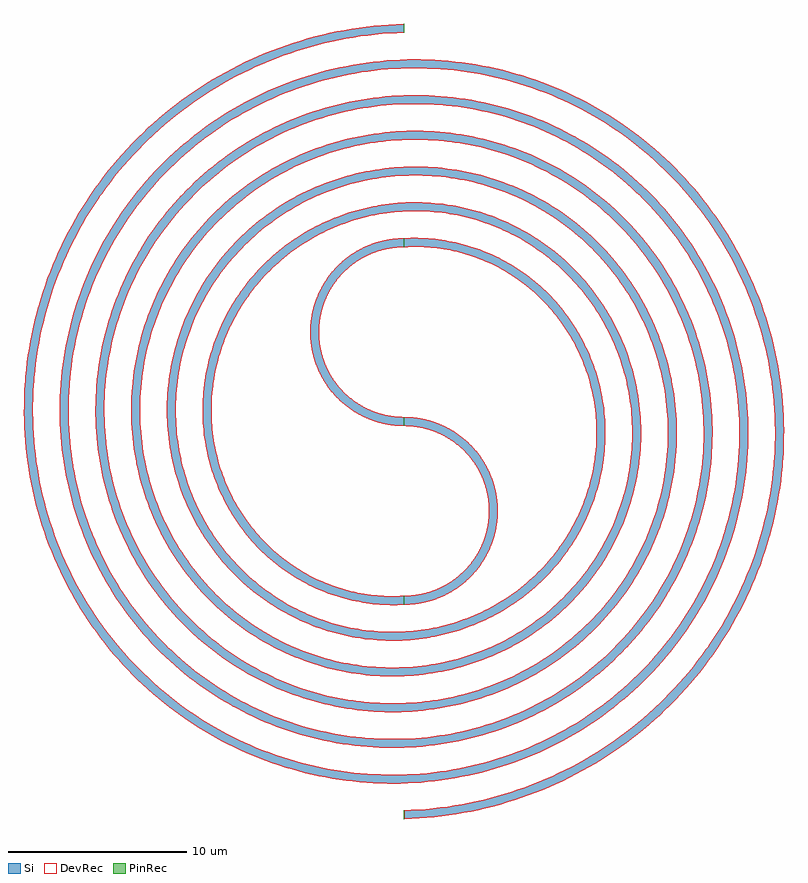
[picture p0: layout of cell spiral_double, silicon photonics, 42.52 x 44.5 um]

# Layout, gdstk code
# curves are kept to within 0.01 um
from math import pi, radians
import gdstk
lib = gdstk.Library(unit=1e-6, precision=1e-09)
def P(c, l, *ps):  # polygons
    for p in ps: c.add(gdstk.Polygon(p, *l))
Si = (1, 0)
PinRec = (1, 10)
DevRec = (68, 0)

bend_circular_angle180_r = lib.new_cell('bend_circular_angle180_radius5p0')
P(bend_circular_angle180_r, Si, [(0.046,-0.25),(0.642,-0.211),(1.095,-0.135),(1.627,0.008),(2.141,0.206),(2.592,0.434),(3.056,0.731),(3.487,1.075),(3.892,1.477),(3.186,1.477),(2.799,1.162),(2.345,0.869),(1.899,0.646),(1.432,0.471),(1.071,0.372),(0.704,0.302),(0.415,0.268),(0,0.25),(0,-0.25)],
  [(3.91,1.496),(4.201,1.851),(4.46,2.23),(4.706,2.672),(4.908,3.135),(5.052,3.571),(5.166,4.063),(5.228,4.518),(5.25,5.021),(4.75,5.021),(4.722,4.481),(4.65,4.03),(4.523,3.548),(4.346,3.082),(4.121,2.637),(3.85,2.218),(3.565,1.861),(3.186,1.477),(3.892,1.477)],
  [(5.25,5.023),(5.239,5.344),(5.202,5.71),(5.149,6.027),(5.052,6.429),(4.955,6.736),(4.803,7.12),(4.508,7.691),(4.201,8.149),(3.879,8.538),(3.169,8.538),(3.481,8.232),(3.826,7.815),(4.079,7.435),(4.329,6.956),(4.51,6.492),(4.65,5.97),(4.722,5.519),(4.75,5.021)],
  [(3.848,8.572),(3.487,8.925),(3.056,9.269),(2.592,9.566),(2.141,9.794),(1.627,9.992),(1.095,10.135),(0.505,10.226),(0,10.25),(0,9.75),(0.415,9.732),(0.868,9.67),(1.313,9.565),(1.668,9.448),(2.088,9.267),(2.453,9.068),(2.799,8.838),(3.169,8.538),(3.879,8.538)])
P(bend_circular_angle180_r, DevRec, [(0.046,-0.25),(0.642,-0.211),(1.095,-0.135),(1.627,0.008),(2.141,0.206),(2.592,0.434),(3.056,0.731),(3.487,1.075),(3.892,1.477),(3.186,1.477),(2.799,1.162),(2.345,0.869),(1.899,0.646),(1.432,0.471),(1.071,0.372),(0.704,0.302),(0.415,0.268),(0,0.25),(0,-0.25)],
  [(3.91,1.496),(4.201,1.851),(4.46,2.23),(4.706,2.672),(4.908,3.135),(5.052,3.571),(5.166,4.063),(5.228,4.518),(5.25,5.021),(4.75,5.021),(4.722,4.481),(4.65,4.03),(4.523,3.548),(4.346,3.082),(4.121,2.637),(3.85,2.218),(3.565,1.861),(3.186,1.477),(3.892,1.477)],
  [(5.25,5.023),(5.239,5.344),(5.202,5.71),(5.149,6.027),(5.052,6.429),(4.955,6.736),(4.803,7.12),(4.508,7.691),(4.201,8.149),(3.879,8.538),(3.169,8.538),(3.481,8.232),(3.826,7.815),(4.079,7.435),(4.329,6.956),(4.51,6.492),(4.65,5.97),(4.722,5.519),(4.75,5.021)],
  [(3.848,8.572),(3.487,8.925),(3.056,9.269),(2.592,9.566),(2.141,9.794),(1.627,9.992),(1.095,10.135),(0.505,10.226),(0,10.25),(0,9.75),(0.415,9.732),(0.868,9.67),(1.313,9.565),(1.668,9.448),(2.088,9.267),(2.453,9.068),(2.799,8.838),(3.169,8.538),(3.879,8.538)])
bend_circular_angle180_r.add(gdstk.FlexPath([(0.001,0),(-0.001,0)], 0.5, ends="flush", simple_path=True, layer=1, datatype=10))  # PinRec
bend_circular_angle180_r.add(gdstk.FlexPath([(0.001,10),(-0.001,10)], 0.5, ends="flush", simple_path=True, layer=1, datatype=10))  # PinRec
bend_circular_angle180_r.add(gdstk.Label('o1', (0,0), layer=1, texttype=10))
bend_circular_angle180_r.add(gdstk.Label('o2', (0,10), layer=1, texttype=10))

extrude_4e332b45 = lib.new_cell('extrude_4e332b45')
P(extrude_4e332b45, Si, [(-0.183,-20.255),(0.58,-20.224),(1.341,-20.163),(2.476,-20.019),(3.225,-19.888),(3.969,-19.729),(5.069,-19.438),(5.792,-19.209),(6.505,-18.954),(7.207,-18.673),(7.897,-18.366),(8.574,-18.033),(9.563,-17.488),(10.204,-17.094),(10.828,-16.676),(11.436,-16.236),(12.163,-15.66),(11.365,-15.66),(10.543,-16.266),(9.934,-16.673),(9.309,-17.057),(8.345,-17.589),(7.685,-17.913),(7.012,-18.213),(6.328,-18.487),(5.282,-18.85),(4.572,-19.059),(3.855,-19.242),(3.13,-19.397),(2.399,-19.525),(1.662,-19.626),(0.922,-19.699),(0.178,-19.743),(-0.567,-19.76),(-1.314,-19.748),(-2.061,-19.709),(-2.806,-19.641),(-3.549,-19.545),(-4.289,-19.42),(-5.025,-19.268),(-5.755,-19.087),(-6.479,-18.879),(-7.195,-18.644),(-8.254,-18.24),(-8.947,-17.937),(-9.628,-17.608),(-10.298,-17.253),(-11.278,-16.672),(-11.913,-16.254),(-12.733,-15.66),(-13.542,-15.66),(-12.831,-16.214),(-12.196,-16.667),(-11.214,-17.3),(-10.541,-17.69),(-9.854,-18.054),(-8.802,-18.55),(-8.086,-18.847),(-7.361,-19.116),(-6.256,-19.468),(-5.511,-19.667),(-4.759,-19.837),(-4.003,-19.979),(-2.861,-20.138),(-2.097,-20.207),(-0.948,-20.258)],
  [(-0.45,-16.262),(0.469,-16.225),(1.08,-16.172),(1.686,-16.096),(2.589,-15.939),(3.183,-15.806),(3.74,-15.66),(1.15,-15.66),(0.435,-15.726),(-0.456,-15.762),(-1.35,-15.746),(-2.425,-15.66),(-5.029,-15.66),(-4.126,-15.885),(-3.519,-16.006),(-2.908,-16.104),(-2.295,-16.178),(-1.68,-16.229),(-1.065,-16.257)],
  [(-12.836,-15.582),(-13.431,-15.105),(-14.008,-14.605),(-14.838,-13.813),(-15.624,-12.975),(-16.363,-12.09),(-16.995,-12.09),(-16.256,-13.009),(-15.467,-13.884),(-14.631,-14.711),(-13.752,-15.489),(-13.542,-15.66),(-12.733,-15.66)],
  [(-2.541,-15.647),(-3.43,-15.514),(-4.019,-15.396),(-4.604,-15.257),(-5.472,-15.006),(-6.043,-14.811),(-6.608,-14.594),(-7.164,-14.356),(-7.712,-14.097),(-8.251,-13.816),(-8.779,-13.515),(-9.297,-13.194),(-9.803,-12.853),(-10.296,-12.493),(-10.804,-12.09),(-11.573,-12.09),(-10.848,-12.698),(-10.346,-13.079),(-9.831,-13.441),(-9.303,-13.782),(-8.764,-14.103),(-8.214,-14.403),(-7.37,-14.812),(-6.796,-15.058),(-5.92,-15.384),(-5.029,-15.66),(-2.425,-15.66)],
  [(-0.334,-12.263),(0.589,-12.205),(1.436,-12.09),(-2.714,-12.09),(-2.191,-12.168),(-1.495,-12.237),(-1.03,-12.261)],
  [(3.772,-15.652),(4.641,-15.379),(5.491,-15.058),(6.32,-14.69),(7.125,-14.276),(7.903,-13.819),(8.653,-13.32),(9.371,-12.78),(10.179,-12.09),(9.422,-12.09),(8.831,-12.567),(8.364,-12.911),(7.883,-13.238),(7.39,-13.548),(6.884,-13.838),(6.104,-14.239),(5.572,-14.481),(5.029,-14.704),(4.478,-14.906),(3.918,-15.088),(3.065,-15.32),(2.199,-15.505),(1.15,-15.66)],
  [(12.314,-15.535),(13.149,-14.787),(13.939,-13.993),(14.682,-13.158),(15.149,-12.58),(15.517,-12.09),(14.894,-12.09),(14.529,-12.557),(14.063,-13.113),(13.323,-13.913),(12.805,-14.424),(12.267,-14.915),(11.365,-15.66),(12.163,-15.66)],
  [(-16.597,-11.788),(-17.267,-10.849),(-17.924,-9.805),(-18.502,-9.805),(-17.899,-10.799),(-17.459,-11.453),(-16.995,-12.09),(-16.363,-12.09)],
  [(-11.011,-11.917),(-11.693,-11.3),(-12.129,-10.867),(-12.549,-10.417),(-13.071,-9.805),(-13.709,-9.805),(-13.131,-10.513),(-12.706,-10.985),(-12.039,-11.661),(-11.574,-12.09),(-10.804,-12.09)],
  [(1.502,-12.079),(2.177,-11.939),(3.059,-11.694),(3.704,-11.468),(4.334,-11.206),(4.947,-10.91),(5.539,-10.581),(6.111,-10.22),(6.689,-9.805),(5.832,-9.805),(5.469,-10.039),(4.908,-10.365),(4.13,-10.75),(3.321,-11.077),(2.487,-11.343),(1.631,-11.546),(0.979,-11.655),(0.098,-11.744),(-0.569,-11.767),(-1.46,-11.738),(-2.128,-11.672),(-3.014,-11.525),(-3.673,-11.37),(-4.537,-11.105),(-5.383,-10.775),(-5.797,-10.585),(-6.406,-10.271),(-7.179,-9.805),(-8.053,-9.805),(-7.664,-10.082),(-7.061,-10.47),(-6.439,-10.821),(-6.014,-11.036),(-5.365,-11.326),(-4.702,-11.578),(-4.028,-11.791),(-3.573,-11.912),(-2.714,-12.09),(1.436,-12.09)],
  [(10.277,-12),(10.915,-11.373),(11.319,-10.937),(11.705,-10.486),(12.236,-9.805),(11.609,-9.805),(11.135,-10.388),(10.554,-11.027),(9.937,-11.634),(9.422,-12.09),(10.179,-12.09)],
  [(15.594,-11.985),(16.217,-11.063),(16.603,-10.43),(16.953,-9.805),(16.383,-9.805),(15.986,-10.488),(15.599,-11.098),(14.894,-12.09),(15.517,-12.09)],
  [(-18.079,-9.538),(-18.622,-8.515),(-18.952,-7.816),(-19.256,-7.104),(-19.566,-6.288),(-20.096,-6.288),(-19.72,-7.291),(-19.409,-8.021),(-18.891,-9.09),(-18.502,-9.805),(-17.924,-9.805)],
  [(-13.147,-9.711),(-13.705,-8.972),(-14.055,-8.461),(-14.385,-7.936),(-14.843,-7.125),(-15.256,-6.288),(-15.804,-6.288),(-15.574,-6.787),(-15.285,-7.359),(-14.813,-8.194),(-14.295,-9),(-13.734,-9.774),(-13.709,-9.805),(-13.071,-9.805)],
  [(-7.191,-9.797),(-7.756,-9.403),(-8.3,-8.975),(-8.65,-8.673),(-9.153,-8.193),(-9.474,-7.858),(-9.933,-7.331),(-10.362,-6.777),(-10.7,-6.288),(-11.294,-6.288),(-10.766,-7.071),(-10.164,-7.834),(-9.508,-8.546),(-8.803,-9.204),(-8.053,-9.805)],
  [(6.836,-9.691),(7.182,-9.407),(7.68,-8.958),(7.996,-8.644),(8.446,-8.153),(8.867,-7.638),(9.13,-7.283),(9.498,-6.734),(9.765,-6.288),(9.185,-6.288),(8.843,-6.82),(8.471,-7.333),(8.206,-7.664),(7.784,-8.142),(7.334,-8.596),(6.858,-9.026),(6.357,-9.429),(5.832,-9.805),(6.689,-9.805)],
  [(12.252,-9.784),(12.593,-9.301),(12.915,-8.806),(13.362,-8.042),(13.763,-7.256),(14.184,-6.288),(13.645,-6.288),(13.312,-7.042),(13.058,-7.551),(12.784,-8.051),(12.491,-8.541),(12.179,-9.02),(11.609,-9.805),(12.236,-9.805)],
  [(16.964,-9.784),(17.3,-9.126),(17.755,-8.118),(18.153,-7.087),(18.415,-6.288),(17.892,-6.288),(17.559,-7.258),(17.294,-7.925),(16.85,-8.907),(16.383,-9.805),(16.953,-9.805)],
  [(-19.662,-6.013),(-20.006,-4.9),(-20.2,-4.147),(-20.438,-3.002),(-20.568,-2.172),(-21.072,-2.172),(-20.93,-3.09),(-20.686,-4.262),(-20.377,-5.416),(-20.096,-6.288),(-19.566,-6.288)],
  [(-15.383,-6.003),(-15.732,-5.135),(-16.032,-4.246),(-16.282,-3.339),(-16.42,-2.726),(-16.524,-2.172),(-17.031,-2.172),(-16.842,-3.143),(-16.602,-4.083),(-16.31,-5.005),(-16.087,-5.609),(-15.841,-6.203),(-15.804,-6.288),(-15.256,-6.288)],
  [(-10.76,-6.198),(-11.24,-5.39),(-11.56,-4.759),(-11.754,-4.328),(-12.014,-3.666),(-12.167,-3.217),(-12.303,-2.761),(-12.451,-2.172),(-12.964,-2.172),(-12.785,-2.895),(-12.484,-3.836),(-12.115,-4.749),(-11.679,-5.628),(-11.294,-6.288),(-10.7,-6.288)],
  [(9.833,-6.167),(10.135,-5.583),(10.317,-5.186),(10.561,-4.58),(10.704,-4.169),(10.831,-3.754),(10.991,-3.126),(11.078,-2.703),(11.163,-2.172),(10.658,-2.172),(10.547,-2.814),(10.456,-3.217),(10.291,-3.816),(10.092,-4.406),(9.94,-4.794),(9.684,-5.366),(9.496,-5.74),(9.186,-6.288),(9.765,-6.288)],
  [(14.227,-6.179),(14.52,-5.352),(14.689,-4.792),(14.836,-4.228),(14.962,-3.66),(15.066,-3.088),(15.186,-2.172),(14.683,-2.172),(14.615,-2.73),(14.525,-3.285),(14.414,-3.837),(14.281,-4.385),(14.129,-4.928),(13.955,-5.466),(13.645,-6.288),(14.184,-6.288)],
  [(18.49,-6.038),(18.682,-5.329),(18.918,-4.256),(19.093,-3.173),(19.199,-2.172),(18.697,-2.172),(18.597,-3.107),(18.427,-4.162),(18.197,-5.208),(17.892,-6.288),(18.415,-6.288)],
  [(-20.611,-1.845),(-20.69,-1.067),(-20.753,0.105),(-20.75,1.282),(-20.698,2.222),(-21.2,2.222),(-21.249,1.297),(-21.253,0.093),(-21.188,-1.108),(-21.072,-2.172),(-20.568,-2.172)],
  [(-16.535,-2.108),(-16.664,-1.172),(-16.72,-0.543),(-16.753,0.088),(-16.757,1.038),(-16.73,1.672),(-16.686,2.222),(-17.188,2.222),(-17.229,1.703),(-17.257,1.05),(-17.253,0.072),(-17.193,-0.902),(-17.079,-1.87),(-17.031,-2.172),(-16.524,-2.172)],
  [(-12.475,-2.066),(-12.608,-1.361),(-12.674,-0.886),(-12.753,0.072),(-12.759,1.038),(-12.735,1.521),(-12.667,2.222),(-13.17,2.222),(-13.249,1.304),(-13.261,0.301),(-13.221,-0.449),(-13.102,-1.439),(-12.964,-2.172),(-12.451,-2.172)],
  [(11.178,-2.065),(11.254,-1.211),(11.265,-0.358),(11.212,0.491),(11.095,1.329),(10.898,2.222),(10.38,2.222),(10.525,1.637),(10.603,1.242),(10.692,0.642),(10.747,0.036),(10.765,-0.37),(10.763,-0.982),(10.726,-1.594),(10.658,-2.172),(11.163,-2.172)],
  [(15.208,-1.937),(15.246,-1.36),(15.263,-0.782),(15.247,0.083),(15.182,0.943),(15.111,1.513),(15.02,2.078),(14.992,2.222),(14.483,2.222),(14.653,1.167),(14.71,0.614),(14.747,0.059),(14.763,-0.498),(14.757,-1.057),(14.731,-1.615),(14.683,-2.172),(15.186,-2.172)],
  [(19.206,-2.084),(19.257,-0.992),(19.247,0.099),(19.174,1.186),(19.047,2.222),(18.541,2.222),(18.676,1.138),(18.747,0.08),(18.757,-0.983),(18.697,-2.172),(19.199,-2.172)],
  [(-20.68,2.458),(-20.543,3.63),(-20.415,4.407),(-20.168,5.565),(-19.966,6.329),(-20.485,6.329),(-20.745,5.29),(-20.907,4.498),(-21.092,3.302),(-21.2,2.222),(-20.698,2.222)],
  [(-16.679,2.305),(-16.557,3.252),(-16.446,3.88),(-16.311,4.504),(-16.064,5.431),(-15.77,6.329),(-16.3,6.329),(-16.543,5.573),(-16.798,4.619),(-16.936,3.976),(-17.051,3.33),(-17.188,2.222),(-16.686,2.222)],
  [(-12.664,2.245),(-12.594,2.727),(-12.454,3.444),(-12.204,4.39),(-11.882,5.317),(-11.695,5.772),(-11.436,6.329),(-11.991,6.329),(-12.348,5.499),(-12.682,4.536),(-12.822,4.047),(-12.995,3.306),(-13.087,2.808),(-13.17,2.222),(-12.667,2.222)],
  [(10.862,2.356),(10.607,3.155),(10.294,3.928),(9.925,4.673),(9.613,5.21),(9.389,5.557),(9.153,5.894),(8.817,6.329),(8.163,6.329),(8.511,5.912),(8.863,5.44),(9.188,4.947),(9.486,4.434),(9.755,3.904),(9.994,3.357),(10.203,2.796),(10.38,2.222),(10.898,2.222)],
  [(14.966,2.359),(14.843,2.918),(14.699,3.47),(14.444,4.286),(14.145,5.084),(13.92,5.605),(13.677,6.117),(13.569,6.329),(13.002,6.329),(13.465,5.399),(13.682,4.895),(13.879,4.383),(14.058,3.863),(14.217,3.335),(14.356,2.801),(14.483,2.222),(14.992,2.222)],
  [(19.041,2.264),(18.847,3.332),(18.593,4.384),(18.28,5.419),(17.951,6.329),(17.413,6.329),(17.806,5.261),(18.11,4.253),(18.357,3.228),(18.541,2.222),(19.047,2.222)],
  [(-19.855,6.708),(-19.61,7.461),(-19.336,8.205),(-19.035,8.939),(-18.755,9.557),(-19.307,9.557),(-19.802,8.387),(-20.211,7.241),(-20.485,6.329),(-19.966,6.329)],
  [(-15.765,6.345),(-15.413,7.242),(-15.01,8.119),(-14.558,8.974),(-14.212,9.557),(-14.797,9.557),(-15.154,8.93),(-15.459,8.341),(-15.873,7.437),(-16.12,6.824),(-16.3,6.329),(-15.77,6.329)],
  [(-11.381,6.442),(-10.903,7.309),(-10.358,8.139),(-9.751,8.93),(-9.194,9.557),(-9.871,9.557),(-10.299,9.048),(-10.766,8.429),(-11.057,8.003),(-11.462,7.345),(-11.71,6.895),(-11.991,6.329),(-11.436,6.329)],
  [(8.775,6.381),(8.372,6.845),(8.09,7.14),(7.797,7.424),(7.34,7.827),(6.862,8.202),(6.366,8.548),(5.852,8.865),(5.501,9.059),(4.962,9.323),(4.412,9.557),(2.67,9.557),(3.335,9.392),(3.875,9.222),(4.581,8.946),(5.098,8.704),(5.602,8.432),(5.93,8.234),(6.409,7.913),(6.719,7.684),(7.168,7.317),(7.456,7.058),(7.871,6.648),(8.163,6.329),(8.817,6.329)],
  [(13.548,6.369),(13.135,7.108),(12.521,8.052),(12.188,8.505),(11.84,8.944),(11.305,9.557),(10.614,9.557),(11.28,8.833),(11.954,7.984),(12.267,7.54),(12.563,7.084),(13.002,6.329),(13.569,6.329)],
  [(17.911,6.432),(17.633,7.095),(17.171,8.066),(16.833,8.697),(16.32,9.557),(15.725,9.557),(16.224,8.754),(16.564,8.147),(17.031,7.211),(17.413,6.329),(17.951,6.329)],
  [(-18.705,9.662),(-18.349,10.373),(-17.965,11.07),(-17.554,11.753),(-16.981,12.619),(-17.587,12.619),(-17.978,12.019),(-18.398,11.319),(-18.791,10.605),(-19.307,9.557),(-18.755,9.557)],
  [(-14.056,9.804),(-13.507,10.606),(-12.913,11.377),(-12.274,12.114),(-11.792,12.619),(-12.487,12.619),(-12.867,12.203),(-13.3,11.693),(-13.713,11.168),(-14.105,10.628),(-14.477,10.075),(-14.797,9.557),(-14.212,9.557)],
  [(-9.083,9.674),(-8.727,10.028),(-8.168,10.534),(-7.778,10.855),(-7.171,11.308),(-6.538,11.727),(-6.101,11.986),(-5.428,12.345),(-4.842,12.619),(-5.989,12.619),(-6.802,12.151),(-7.459,11.717),(-8.089,11.247),(-8.689,10.743),(-9.259,10.207),(-9.871,9.557),(-9.194,9.557)],
  [(11.287,9.576),(10.9,9.979),(10.499,10.367),(10.084,10.738),(9.656,11.092),(8.99,11.593),(8.533,11.904),(8.064,12.197),(7.312,12.619),(6.152,12.619),(6.874,12.282),(7.345,12.034),(7.807,11.769),(8.482,11.337),(9.133,10.867),(9.552,10.532),(9.96,10.182),(10.614,9.557),(11.305,9.557)],
  [(16.283,9.617),(15.683,10.502),(15.256,11.073),(14.577,11.895),(13.91,12.619),(13.204,12.619),(13.971,11.824),(14.646,11.037),(15.277,10.21),(15.725,9.557),(16.32,9.557)],
  [(4.226,9.627),(3.662,9.817),(3.09,9.974),(2.512,10.098),(2.124,10.162),(1.735,10.211),(1.15,10.257),(0.566,10.27),(0,10.25),(0,9.75),(0.569,9.77),(1.311,9.747),(2.052,9.667),(2.67,9.557),(4.412,9.557)],
  [(-16.89,12.749),(-16.169,13.708),(-15.658,14.324),(-14.848,15.213),(-14.122,15.928),(-14.843,15.928),(-15.49,15.262),(-16.037,14.65),(-16.812,13.697),(-17.587,12.619),(-16.981,12.619)],
  [(-11.593,12.816),(-11.117,13.263),(-10.623,13.692),(-10.113,14.102),(-9.587,14.494),(-9.046,14.866),(-8.491,15.217),(-7.921,15.548),(-7.198,15.928),(-8.265,15.928),(-9.038,15.467),(-9.878,14.9),(-10.684,14.289),(-11.2,13.857),(-11.942,13.174),(-12.487,12.619),(-11.792,12.619)],
  [(13.854,12.676),(13.089,13.414),(12.286,14.106),(11.73,14.541),(11.159,14.954),(10.275,15.531),(9.595,15.928),(8.518,15.928),(9.125,15.616),(9.72,15.281),(10.303,14.923),(10.873,14.543),(11.429,14.141),(11.971,13.718),(12.753,13.045),(13.204,12.619),(13.91,12.619)],
  [(7.098,12.729),(6.351,13.078),(5.329,13.475),(4.547,13.72),(3.754,13.921),(2.953,14.076),(2.146,14.184),(1.337,14.247),(0.527,14.264),(-0.28,14.235),(-1.348,14.126),(-2.14,13.991),(-2.92,13.812),(-3.688,13.59),(-4.439,13.326),(-5.173,13.02),(-5.989,12.619),(-4.842,12.619),(-4.26,12.859),(-3.535,13.114),(-2.795,13.328),(-2.294,13.448),(-1.534,13.592),(-0.765,13.693),(-0.248,13.736),(0.531,13.764),(1.312,13.748),(2.093,13.687),(2.613,13.622),(3.388,13.487),(4.156,13.309),(4.915,13.086),(5.662,12.82),(6.152,12.619),(7.312,12.619)],
  [(-13.987,16.056),(-13.386,16.591),(-12.447,17.351),(-11.797,17.828),(-11.129,18.281),(-10.443,18.709),(-9.74,19.111),(-9.023,19.486),(-8.29,19.835),(-7.545,20.156),(-6.403,20.585),(-5.628,20.835),(-4.448,21.156),(-3.249,21.409),(-2.442,21.54),(-1.221,21.68),(0,21.75),(0,22.25),(-0.846,22.21),(-2.098,22.09),(-2.926,21.972),(-4.158,21.736),(-5.372,21.431),(-6.17,21.19),(-7.347,20.773),(-8.497,20.29),(-9.615,19.745),(-10.699,19.138),(-11.746,18.471),(-12.751,17.748),(-13.712,16.97),(-14.327,16.423),(-14.843,15.928),(-14.122,15.928)],
  [(9.361,16.056),(8.422,16.528),(7.782,16.812),(7.133,17.072),(6.144,17.414),(5.138,17.699),(4.121,17.926),(3.437,18.046),(2.75,18.139),(1.716,18.229),(1.026,18.257),(0.336,18.259),(-0.696,18.213),(-1.722,18.108),(-2.739,17.946),(-3.409,17.806),(-4.073,17.642),(-5.055,17.348),(-5.698,17.122),(-6.332,16.873),(-7.262,16.455),(-8.265,15.928),(-7.198,15.928),(-6.745,16.146),(-6.14,16.411),(-5.212,16.767),(-4.264,17.07),(-3.622,17.242),(-2.973,17.39),(-1.988,17.566),(-1.326,17.652),(-0.66,17.714),(0.344,17.759),(1.351,17.747),(2.357,17.678),(3.027,17.6),(4.026,17.436),(5.016,17.215),(5.669,17.036),(6.316,16.832),(6.956,16.604),(7.588,16.352),(8.518,15.928),(9.595,15.928)])
P(extrude_4e332b45, DevRec, [(-0.183,-20.255),(0.58,-20.224),(1.341,-20.163),(2.476,-20.019),(3.225,-19.888),(3.969,-19.729),(5.069,-19.438),(5.792,-19.209),(6.505,-18.954),(7.207,-18.673),(7.897,-18.366),(8.574,-18.033),(9.563,-17.488),(10.204,-17.094),(10.828,-16.676),(11.436,-16.236),(12.163,-15.66),(11.365,-15.66),(10.543,-16.266),(9.934,-16.673),(9.309,-17.057),(8.345,-17.589),(7.685,-17.913),(7.012,-18.213),(6.328,-18.487),(5.282,-18.85),(4.572,-19.059),(3.855,-19.242),(3.13,-19.397),(2.399,-19.525),(1.662,-19.626),(0.922,-19.699),(0.178,-19.743),(-0.567,-19.76),(-1.314,-19.748),(-2.061,-19.709),(-2.806,-19.641),(-3.549,-19.545),(-4.289,-19.42),(-5.025,-19.268),(-5.755,-19.087),(-6.479,-18.879),(-7.195,-18.644),(-8.254,-18.24),(-8.947,-17.937),(-9.628,-17.608),(-10.298,-17.253),(-11.278,-16.672),(-11.913,-16.254),(-12.733,-15.66),(-13.542,-15.66),(-12.831,-16.214),(-12.196,-16.667),(-11.214,-17.3),(-10.541,-17.69),(-9.854,-18.054),(-8.802,-18.55),(-8.086,-18.847),(-7.361,-19.116),(-6.256,-19.468),(-5.511,-19.667),(-4.759,-19.837),(-4.003,-19.979),(-2.861,-20.138),(-2.097,-20.207),(-0.948,-20.258)],
  [(-0.45,-16.262),(0.469,-16.225),(1.08,-16.172),(1.686,-16.096),(2.589,-15.939),(3.183,-15.806),(3.74,-15.66),(1.15,-15.66),(0.435,-15.726),(-0.456,-15.762),(-1.35,-15.746),(-2.425,-15.66),(-5.029,-15.66),(-4.126,-15.885),(-3.519,-16.006),(-2.908,-16.104),(-2.295,-16.178),(-1.68,-16.229),(-1.065,-16.257)],
  [(-12.836,-15.582),(-13.431,-15.105),(-14.008,-14.605),(-14.838,-13.813),(-15.624,-12.975),(-16.363,-12.09),(-16.995,-12.09),(-16.256,-13.009),(-15.467,-13.884),(-14.631,-14.711),(-13.752,-15.489),(-13.542,-15.66),(-12.733,-15.66)],
  [(-2.541,-15.647),(-3.43,-15.514),(-4.019,-15.396),(-4.604,-15.257),(-5.472,-15.006),(-6.043,-14.811),(-6.608,-14.594),(-7.164,-14.356),(-7.712,-14.097),(-8.251,-13.816),(-8.779,-13.515),(-9.297,-13.194),(-9.803,-12.853),(-10.296,-12.493),(-10.804,-12.09),(-11.573,-12.09),(-10.848,-12.698),(-10.346,-13.079),(-9.831,-13.441),(-9.303,-13.782),(-8.764,-14.103),(-8.214,-14.403),(-7.37,-14.812),(-6.796,-15.058),(-5.92,-15.384),(-5.029,-15.66),(-2.425,-15.66)],
  [(-0.334,-12.263),(0.589,-12.205),(1.436,-12.09),(-2.714,-12.09),(-2.191,-12.168),(-1.495,-12.237),(-1.03,-12.261)],
  [(3.772,-15.652),(4.641,-15.379),(5.491,-15.058),(6.32,-14.69),(7.125,-14.276),(7.903,-13.819),(8.653,-13.32),(9.371,-12.78),(10.179,-12.09),(9.422,-12.09),(8.831,-12.567),(8.364,-12.911),(7.883,-13.238),(7.39,-13.548),(6.884,-13.838),(6.104,-14.239),(5.572,-14.481),(5.029,-14.704),(4.478,-14.906),(3.918,-15.088),(3.065,-15.32),(2.199,-15.505),(1.15,-15.66)],
  [(12.314,-15.535),(13.149,-14.787),(13.939,-13.993),(14.682,-13.158),(15.149,-12.58),(15.517,-12.09),(14.894,-12.09),(14.529,-12.557),(14.063,-13.113),(13.323,-13.913),(12.805,-14.424),(12.267,-14.915),(11.365,-15.66),(12.163,-15.66)],
  [(-16.597,-11.788),(-17.267,-10.849),(-17.924,-9.805),(-18.502,-9.805),(-17.899,-10.799),(-17.459,-11.453),(-16.995,-12.09),(-16.363,-12.09)],
  [(-11.011,-11.917),(-11.693,-11.3),(-12.129,-10.867),(-12.549,-10.417),(-13.071,-9.805),(-13.709,-9.805),(-13.131,-10.513),(-12.706,-10.985),(-12.039,-11.661),(-11.574,-12.09),(-10.804,-12.09)],
  [(1.502,-12.079),(2.177,-11.939),(3.059,-11.694),(3.704,-11.468),(4.334,-11.206),(4.947,-10.91),(5.539,-10.581),(6.111,-10.22),(6.689,-9.805),(5.832,-9.805),(5.469,-10.039),(4.908,-10.365),(4.13,-10.75),(3.321,-11.077),(2.487,-11.343),(1.631,-11.546),(0.979,-11.655),(0.098,-11.744),(-0.569,-11.767),(-1.46,-11.738),(-2.128,-11.672),(-3.014,-11.525),(-3.673,-11.37),(-4.537,-11.105),(-5.383,-10.775),(-5.797,-10.585),(-6.406,-10.271),(-7.179,-9.805),(-8.053,-9.805),(-7.664,-10.082),(-7.061,-10.47),(-6.439,-10.821),(-6.014,-11.036),(-5.365,-11.326),(-4.702,-11.578),(-4.028,-11.791),(-3.573,-11.912),(-2.714,-12.09),(1.436,-12.09)],
  [(10.277,-12),(10.915,-11.373),(11.319,-10.937),(11.705,-10.486),(12.236,-9.805),(11.609,-9.805),(11.135,-10.388),(10.554,-11.027),(9.937,-11.634),(9.422,-12.09),(10.179,-12.09)],
  [(15.594,-11.985),(16.217,-11.063),(16.603,-10.43),(16.953,-9.805),(16.383,-9.805),(15.986,-10.488),(15.599,-11.098),(14.894,-12.09),(15.517,-12.09)],
  [(-18.079,-9.538),(-18.622,-8.515),(-18.952,-7.816),(-19.256,-7.104),(-19.566,-6.288),(-20.096,-6.288),(-19.72,-7.291),(-19.409,-8.021),(-18.891,-9.09),(-18.502,-9.805),(-17.924,-9.805)],
  [(-13.147,-9.711),(-13.705,-8.972),(-14.055,-8.461),(-14.385,-7.936),(-14.843,-7.125),(-15.256,-6.288),(-15.804,-6.288),(-15.574,-6.787),(-15.285,-7.359),(-14.813,-8.194),(-14.295,-9),(-13.734,-9.774),(-13.709,-9.805),(-13.071,-9.805)],
  [(-7.191,-9.797),(-7.756,-9.403),(-8.3,-8.975),(-8.65,-8.673),(-9.153,-8.193),(-9.474,-7.858),(-9.933,-7.331),(-10.362,-6.777),(-10.7,-6.288),(-11.294,-6.288),(-10.766,-7.071),(-10.164,-7.834),(-9.508,-8.546),(-8.803,-9.204),(-8.053,-9.805)],
  [(6.836,-9.691),(7.182,-9.407),(7.68,-8.958),(7.996,-8.644),(8.446,-8.153),(8.867,-7.638),(9.13,-7.283),(9.498,-6.734),(9.765,-6.288),(9.185,-6.288),(8.843,-6.82),(8.471,-7.333),(8.206,-7.664),(7.784,-8.142),(7.334,-8.596),(6.858,-9.026),(6.357,-9.429),(5.832,-9.805),(6.689,-9.805)],
  [(12.252,-9.784),(12.593,-9.301),(12.915,-8.806),(13.362,-8.042),(13.763,-7.256),(14.184,-6.288),(13.645,-6.288),(13.312,-7.042),(13.058,-7.551),(12.784,-8.051),(12.491,-8.541),(12.179,-9.02),(11.609,-9.805),(12.236,-9.805)],
  [(16.964,-9.784),(17.3,-9.126),(17.755,-8.118),(18.153,-7.087),(18.415,-6.288),(17.892,-6.288),(17.559,-7.258),(17.294,-7.925),(16.85,-8.907),(16.383,-9.805),(16.953,-9.805)],
  [(-19.662,-6.013),(-20.006,-4.9),(-20.2,-4.147),(-20.438,-3.002),(-20.568,-2.172),(-21.072,-2.172),(-20.93,-3.09),(-20.686,-4.262),(-20.377,-5.416),(-20.096,-6.288),(-19.566,-6.288)],
  [(-15.383,-6.003),(-15.732,-5.135),(-16.032,-4.246),(-16.282,-3.339),(-16.42,-2.726),(-16.524,-2.172),(-17.031,-2.172),(-16.842,-3.143),(-16.602,-4.083),(-16.31,-5.005),(-16.087,-5.609),(-15.841,-6.203),(-15.804,-6.288),(-15.256,-6.288)],
  [(-10.76,-6.198),(-11.24,-5.39),(-11.56,-4.759),(-11.754,-4.328),(-12.014,-3.666),(-12.167,-3.217),(-12.303,-2.761),(-12.451,-2.172),(-12.964,-2.172),(-12.785,-2.895),(-12.484,-3.836),(-12.115,-4.749),(-11.679,-5.628),(-11.294,-6.288),(-10.7,-6.288)],
  [(9.833,-6.167),(10.135,-5.583),(10.317,-5.186),(10.561,-4.58),(10.704,-4.169),(10.831,-3.754),(10.991,-3.126),(11.078,-2.703),(11.163,-2.172),(10.658,-2.172),(10.547,-2.814),(10.456,-3.217),(10.291,-3.816),(10.092,-4.406),(9.94,-4.794),(9.684,-5.366),(9.496,-5.74),(9.186,-6.288),(9.765,-6.288)],
  [(14.227,-6.179),(14.52,-5.352),(14.689,-4.792),(14.836,-4.228),(14.962,-3.66),(15.066,-3.088),(15.186,-2.172),(14.683,-2.172),(14.615,-2.73),(14.525,-3.285),(14.414,-3.837),(14.281,-4.385),(14.129,-4.928),(13.955,-5.466),(13.645,-6.288),(14.184,-6.288)],
  [(18.49,-6.038),(18.682,-5.329),(18.918,-4.256),(19.093,-3.173),(19.199,-2.172),(18.697,-2.172),(18.597,-3.107),(18.427,-4.162),(18.197,-5.208),(17.892,-6.288),(18.415,-6.288)],
  [(-20.611,-1.845),(-20.69,-1.067),(-20.753,0.105),(-20.75,1.282),(-20.698,2.222),(-21.2,2.222),(-21.249,1.297),(-21.253,0.093),(-21.188,-1.108),(-21.072,-2.172),(-20.568,-2.172)],
  [(-16.535,-2.108),(-16.664,-1.172),(-16.72,-0.543),(-16.753,0.088),(-16.757,1.038),(-16.73,1.672),(-16.686,2.222),(-17.188,2.222),(-17.229,1.703),(-17.257,1.05),(-17.253,0.072),(-17.193,-0.902),(-17.079,-1.87),(-17.031,-2.172),(-16.524,-2.172)],
  [(-12.475,-2.066),(-12.608,-1.361),(-12.674,-0.886),(-12.753,0.072),(-12.759,1.038),(-12.735,1.521),(-12.667,2.222),(-13.17,2.222),(-13.249,1.304),(-13.261,0.301),(-13.221,-0.449),(-13.102,-1.439),(-12.964,-2.172),(-12.451,-2.172)],
  [(11.178,-2.065),(11.254,-1.211),(11.265,-0.358),(11.212,0.491),(11.095,1.329),(10.898,2.222),(10.38,2.222),(10.525,1.637),(10.603,1.242),(10.692,0.642),(10.747,0.036),(10.765,-0.37),(10.763,-0.982),(10.726,-1.594),(10.658,-2.172),(11.163,-2.172)],
  [(15.208,-1.937),(15.246,-1.36),(15.263,-0.782),(15.247,0.083),(15.182,0.943),(15.111,1.513),(15.02,2.078),(14.992,2.222),(14.483,2.222),(14.653,1.167),(14.71,0.614),(14.747,0.059),(14.763,-0.498),(14.757,-1.057),(14.731,-1.615),(14.683,-2.172),(15.186,-2.172)],
  [(19.206,-2.084),(19.257,-0.992),(19.247,0.099),(19.174,1.186),(19.047,2.222),(18.541,2.222),(18.676,1.138),(18.747,0.08),(18.757,-0.983),(18.697,-2.172),(19.199,-2.172)],
  [(-20.68,2.458),(-20.543,3.63),(-20.415,4.407),(-20.168,5.565),(-19.966,6.329),(-20.485,6.329),(-20.745,5.29),(-20.907,4.498),(-21.092,3.302),(-21.2,2.222),(-20.698,2.222)],
  [(-16.679,2.305),(-16.557,3.252),(-16.446,3.88),(-16.311,4.504),(-16.064,5.431),(-15.77,6.329),(-16.3,6.329),(-16.543,5.573),(-16.798,4.619),(-16.936,3.976),(-17.051,3.33),(-17.188,2.222),(-16.686,2.222)],
  [(-12.664,2.245),(-12.594,2.727),(-12.454,3.444),(-12.204,4.39),(-11.882,5.317),(-11.695,5.772),(-11.436,6.329),(-11.991,6.329),(-12.348,5.499),(-12.682,4.536),(-12.822,4.047),(-12.995,3.306),(-13.087,2.808),(-13.17,2.222),(-12.667,2.222)],
  [(10.862,2.356),(10.607,3.155),(10.294,3.928),(9.925,4.673),(9.613,5.21),(9.389,5.557),(9.153,5.894),(8.817,6.329),(8.163,6.329),(8.511,5.912),(8.863,5.44),(9.188,4.947),(9.486,4.434),(9.755,3.904),(9.994,3.357),(10.203,2.796),(10.38,2.222),(10.898,2.222)],
  [(14.966,2.359),(14.843,2.918),(14.699,3.47),(14.444,4.286),(14.145,5.084),(13.92,5.605),(13.677,6.117),(13.569,6.329),(13.002,6.329),(13.465,5.399),(13.682,4.895),(13.879,4.383),(14.058,3.863),(14.217,3.335),(14.356,2.801),(14.483,2.222),(14.992,2.222)],
  [(19.041,2.264),(18.847,3.332),(18.593,4.384),(18.28,5.419),(17.951,6.329),(17.413,6.329),(17.806,5.261),(18.11,4.253),(18.357,3.228),(18.541,2.222),(19.047,2.222)],
  [(-19.855,6.708),(-19.61,7.461),(-19.336,8.205),(-19.035,8.939),(-18.755,9.557),(-19.307,9.557),(-19.802,8.387),(-20.211,7.241),(-20.485,6.329),(-19.966,6.329)],
  [(-15.765,6.345),(-15.413,7.242),(-15.01,8.119),(-14.558,8.974),(-14.212,9.557),(-14.797,9.557),(-15.154,8.93),(-15.459,8.341),(-15.873,7.437),(-16.12,6.824),(-16.3,6.329),(-15.77,6.329)],
  [(-11.381,6.442),(-10.903,7.309),(-10.358,8.139),(-9.751,8.93),(-9.194,9.557),(-9.871,9.557),(-10.299,9.048),(-10.766,8.429),(-11.057,8.003),(-11.462,7.345),(-11.71,6.895),(-11.991,6.329),(-11.436,6.329)],
  [(8.775,6.381),(8.372,6.845),(8.09,7.14),(7.797,7.424),(7.34,7.827),(6.862,8.202),(6.366,8.548),(5.852,8.865),(5.501,9.059),(4.962,9.323),(4.412,9.557),(2.67,9.557),(3.335,9.392),(3.875,9.222),(4.581,8.946),(5.098,8.704),(5.602,8.432),(5.93,8.234),(6.409,7.913),(6.719,7.684),(7.168,7.317),(7.456,7.058),(7.871,6.648),(8.163,6.329),(8.817,6.329)],
  [(13.548,6.369),(13.135,7.108),(12.521,8.052),(12.188,8.505),(11.84,8.944),(11.305,9.557),(10.614,9.557),(11.28,8.833),(11.954,7.984),(12.267,7.54),(12.563,7.084),(13.002,6.329),(13.569,6.329)],
  [(17.911,6.432),(17.633,7.095),(17.171,8.066),(16.833,8.697),(16.32,9.557),(15.725,9.557),(16.224,8.754),(16.564,8.147),(17.031,7.211),(17.413,6.329),(17.951,6.329)],
  [(-18.705,9.662),(-18.349,10.373),(-17.965,11.07),(-17.554,11.753),(-16.981,12.619),(-17.587,12.619),(-17.978,12.019),(-18.398,11.319),(-18.791,10.605),(-19.307,9.557),(-18.755,9.557)],
  [(-14.056,9.804),(-13.507,10.606),(-12.913,11.377),(-12.274,12.114),(-11.792,12.619),(-12.487,12.619),(-12.867,12.203),(-13.3,11.693),(-13.713,11.168),(-14.105,10.628),(-14.477,10.075),(-14.797,9.557),(-14.212,9.557)],
  [(-9.083,9.674),(-8.727,10.028),(-8.168,10.534),(-7.778,10.855),(-7.171,11.308),(-6.538,11.727),(-6.101,11.986),(-5.428,12.345),(-4.842,12.619),(-5.989,12.619),(-6.802,12.151),(-7.459,11.717),(-8.089,11.247),(-8.689,10.743),(-9.259,10.207),(-9.871,9.557),(-9.194,9.557)],
  [(11.287,9.576),(10.9,9.979),(10.499,10.367),(10.084,10.738),(9.656,11.092),(8.99,11.593),(8.533,11.904),(8.064,12.197),(7.312,12.619),(6.152,12.619),(6.874,12.282),(7.345,12.034),(7.807,11.769),(8.482,11.337),(9.133,10.867),(9.552,10.532),(9.96,10.182),(10.614,9.557),(11.305,9.557)],
  [(16.283,9.617),(15.683,10.502),(15.256,11.073),(14.577,11.895),(13.91,12.619),(13.204,12.619),(13.971,11.824),(14.646,11.037),(15.277,10.21),(15.725,9.557),(16.32,9.557)],
  [(4.226,9.627),(3.662,9.817),(3.09,9.974),(2.512,10.098),(2.124,10.162),(1.735,10.211),(1.15,10.257),(0.566,10.27),(0,10.25),(0,9.75),(0.569,9.77),(1.311,9.747),(2.052,9.667),(2.67,9.557),(4.412,9.557)],
  [(-16.89,12.749),(-16.169,13.708),(-15.658,14.324),(-14.848,15.213),(-14.122,15.928),(-14.843,15.928),(-15.49,15.262),(-16.037,14.65),(-16.812,13.697),(-17.587,12.619),(-16.981,12.619)],
  [(-11.593,12.816),(-11.117,13.263),(-10.623,13.692),(-10.113,14.102),(-9.587,14.494),(-9.046,14.866),(-8.491,15.217),(-7.921,15.548),(-7.198,15.928),(-8.265,15.928),(-9.038,15.467),(-9.878,14.9),(-10.684,14.289),(-11.2,13.857),(-11.942,13.174),(-12.487,12.619),(-11.792,12.619)],
  [(13.854,12.676),(13.089,13.414),(12.286,14.106),(11.73,14.541),(11.159,14.954),(10.275,15.531),(9.595,15.928),(8.518,15.928),(9.125,15.616),(9.72,15.281),(10.303,14.923),(10.873,14.543),(11.429,14.141),(11.971,13.718),(12.753,13.045),(13.204,12.619),(13.91,12.619)],
  [(7.098,12.729),(6.351,13.078),(5.329,13.475),(4.547,13.72),(3.754,13.921),(2.953,14.076),(2.146,14.184),(1.337,14.247),(0.527,14.264),(-0.28,14.235),(-1.348,14.126),(-2.14,13.991),(-2.92,13.812),(-3.688,13.59),(-4.439,13.326),(-5.173,13.02),(-5.989,12.619),(-4.842,12.619),(-4.26,12.859),(-3.535,13.114),(-2.795,13.328),(-2.294,13.448),(-1.534,13.592),(-0.765,13.693),(-0.248,13.736),(0.531,13.764),(1.312,13.748),(2.093,13.687),(2.613,13.622),(3.388,13.487),(4.156,13.309),(4.915,13.086),(5.662,12.82),(6.152,12.619),(7.312,12.619)],
  [(-13.987,16.056),(-13.386,16.591),(-12.447,17.351),(-11.797,17.828),(-11.129,18.281),(-10.443,18.709),(-9.74,19.111),(-9.023,19.486),(-8.29,19.835),(-7.545,20.156),(-6.403,20.585),(-5.628,20.835),(-4.448,21.156),(-3.249,21.409),(-2.442,21.54),(-1.221,21.68),(0,21.75),(0,22.25),(-0.846,22.21),(-2.098,22.09),(-2.926,21.972),(-4.158,21.736),(-5.372,21.431),(-6.17,21.19),(-7.347,20.773),(-8.497,20.29),(-9.615,19.745),(-10.699,19.138),(-11.746,18.471),(-12.751,17.748),(-13.712,16.97),(-14.327,16.423),(-14.843,15.928),(-14.122,15.928)],
  [(9.361,16.056),(8.422,16.528),(7.782,16.812),(7.133,17.072),(6.144,17.414),(5.138,17.699),(4.121,17.926),(3.437,18.046),(2.75,18.139),(1.716,18.229),(1.026,18.257),(0.336,18.259),(-0.696,18.213),(-1.722,18.108),(-2.739,17.946),(-3.409,17.806),(-4.073,17.642),(-5.055,17.348),(-5.698,17.122),(-6.332,16.873),(-7.262,16.455),(-8.265,15.928),(-7.198,15.928),(-6.745,16.146),(-6.14,16.411),(-5.212,16.767),(-4.264,17.07),(-3.622,17.242),(-2.973,17.39),(-1.988,17.566),(-1.326,17.652),(-0.66,17.714),(0.344,17.759),(1.351,17.747),(2.357,17.678),(3.027,17.6),(4.026,17.436),(5.016,17.215),(5.669,17.036),(6.316,16.832),(6.956,16.604),(7.588,16.352),(8.518,15.928),(9.595,15.928)])
extrude_4e332b45.add(gdstk.FlexPath([(0.001,10),(-0.001,10)], 0.5, ends="flush", simple_path=True, layer=1, datatype=10))  # PinRec
extrude_4e332b45.add(gdstk.FlexPath([(-0.001,22),(0.001,22)], 0.5, ends="flush", simple_path=True, layer=1, datatype=10))  # PinRec
extrude_4e332b45.add(gdstk.Label('o1', (0,10), layer=1, texttype=10))
extrude_4e332b45.add(gdstk.Label('o2', (0,22), layer=1, texttype=10))

spiral_double = lib.new_cell('spiral_double')
spiral_double.add(gdstk.Reference(bend_circular_angle180_r, (0,0), rotation=pi, x_reflection=True))
spiral_double.add(gdstk.Reference(bend_circular_angle180_r, (0,-10)))
spiral_double.add(gdstk.Reference(extrude_4e332b45, (0,0)))
spiral_double.add(gdstk.Reference(extrude_4e332b45, (0,0), rotation=pi))

lib.write_gds('spiral_double.gds')
